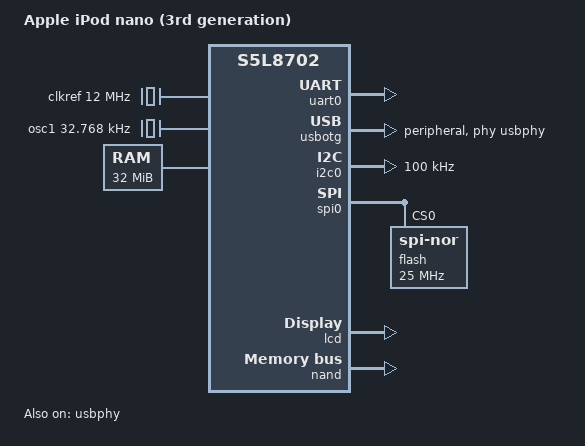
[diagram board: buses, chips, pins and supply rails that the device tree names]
// SPDX-License-Identifier: GPL-2.0+
/*
 * Apple iPod nano 3rd generation (N46)
 * SoC: Samsung/Apple S5L8702 (ARM926EJ-S)
 */
/dts-v1/;
#include <dt-bindings/clock/samsung,s5l8702-clock.h>

/ {
	#address-cells = <1>;
	#size-cells = <1>;
	model = "Apple iPod nano (3rd generation)";
	compatible = "apple,n46", "samsung,s5l8702";

	aliases {
		serial0 = &uart0;
	};

	chosen {
		stdout-path = "serial0:57600n8";
	};

	/* Crystal reference: 12 MHz */
	clkref: clock-ref {
		compatible = "fixed-clock";
		#clock-cells = <0>;
		clock-frequency = <12000000>;
		clock-output-names = "clkref";
	};

	/* 32.768 kHz crystal */
	osc1: clock-osc1 {
		compatible = "fixed-clock";
		#clock-cells = <0>;
		clock-frequency = <32768>;
		clock-output-names = "osc1";
	};

	cpus {
		#address-cells = <1>;
		#size-cells = <0>;

		cpu@0 {
			device_type = "cpu";
			compatible = "arm,arm926ej-s";
			reg = <0>;
		};
	};

	memory@8000000 {
		device_type = "memory";
		/* 32 MB SDRAM */
		reg = <0x08000000 0x02000000>;
	};

	soc {
		compatible = "simple-bus";
		#address-cells = <1>;
		#size-cells = <1>;
		ranges;

		vic0: interrupt-controller@38e00000 {
			compatible = "arm,pl192-vic";
			interrupt-controller;
			reg = <0x38e00000 0x1000>;
			#interrupt-cells = <1>;
		};

		vic1: interrupt-controller@38e01000 {
			compatible = "arm,pl192-vic";
			interrupt-controller;
			reg = <0x38e01000 0x1000>;
			#interrupt-cells = <1>;
		};

		timer: timer@3c700000 {
			compatible = "samsung,s5l8702-timer";
			reg = <0x3c700000 0x20000>;
			interrupt-parent = <&vic0>;
			interrupts = <7>;
		};

		uart0: serial@3cc00000 {
			compatible = "apple,s5l-uart";
			reg = <0x3cc00000 0x4000>;
			reg-io-width = <4>;
			clocks = <&clkref>, <&clkref>;
			clock-names = "uart", "clk_uart_baud0";
			interrupt-parent = <&vic0>;
			interrupts = <24>;
			status = "okay";
		};

		usbphy: usbphy@3c400000 {
			compatible = "apple,s5l8702-otgphy";
			reg = <0x3c400000 0x200>;
			status = "okay";
			#phy-cells = <0>;
		};

		usbotg: usb@38400000 {
			compatible = "apple,s5l87xx-usb";
			reg = <0x38400000 0x40000>;
			interrupt-parent = <&vic0>;
			interrupts = <19>;
			phys = <&usbphy>;
			phy-names = "usb2-phy";
			clocks = <&clkctrl CLK_USBOTG>;
			clock-names = "otg";
			g-rx-fifo-size = <536>;
			g-np-tx-fifo-size = <256>;
			g-tx-fifo-size = <256 256 512 512 512 768 768>;
			dr_mode = "peripheral";
			status = "okay";
		};

		i2c0: i2c@3c600000 {
			compatible = "samsung,s5l8702-i2c";
			reg = <0x3c600000 0x100>;
			clock-frequency = <100000>;
			clocks = <&clkctrl CLK_I2C0>;
			interrupt-parent = <&vic0>;
			interrupts = <21>;
			samsung,write-busy-poll;
			status = "okay";
		};

		/*
		 * SPI0: boot NOR flash (SST25-series, 4 MB).
		 * CS is controlled manually via GPIOCMD; no cs-gpios needed.
		 * Clock divider is fixed at 4 (PClk/5) by the driver.
		 */
		spi0: spi@3c300000 {
			compatible = "apple,s5l8702-spi";
			reg = <0x3c300000 0x50>;
			clocks = <&clkctrl CLK_SPI0>;
			#address-cells = <1>;
			#size-cells = <0>;
			status = "okay";

			flash@0 {
				compatible = "jedec,spi-nor";
				reg = <0>;
				spi-max-frequency = <25000000>;
			};
		};

		/*
		 * LCD controller: custom 8080-series MPU interface block
		 * driving an ILI93xx-family panel (auto-detected at probe).
		 */
		lcd: lcd@38300000 {
			compatible = "apple,s5l8702-lcd";
			reg = <0x38300000 0x100>;
			clocks = <&clkctrl CLK_LCD>;
			pmu-i2c = <&i2c0>;
			status = "okay";
		};

		/*
		 * FMI (Flash Memory Interface) for the on-board NAND.
		 * The driver still sets the GPIO pinmux (PCON8..10) itself.
		 */
		nand: nand@38a00000 {
			compatible = "apple,s5l8702-nand";
			reg = <0x38a00000 0x400>;
			clocks = <&clkctrl CLK_NAND>, <&clkctrl CLK_NANDECC>;
			clock-names = "nand", "ecc";
			pmu-i2c = <&i2c0>;
			apple,nand-bank = <0>;
			status = "okay";
		};

		clkctrl: clock-controller@3c500000 {
			compatible = "samsung,s5l8702-clock";
			reg = <0x3c500000 0x100>;
			clocks = <&clkref>, <&osc1>;
			clock-names = "osc0", "osc1";
			#clock-cells = <1>;
		};

		/*
		 * GPIO pins 0..127 (port * 8 + pin). Pin interrupts come from
		 * the external interrupt controller in the "system alive"
		 * block, whose GPIO groups feed VIC0 lines 0..3.
		 */
		gpio: gpio-controller@3cf00000 {
			compatible = "apple,s5l8702-gpio";
			reg = <0x3cf00000 0x204>, <0x39a00080 0x80>;
			clocks = <&clkctrl CLK_GPIO>;
			interrupt-parent = <&vic0>;
			interrupts = <0>, <1>, <2>, <3>;
			gpio-controller;
			#gpio-cells = <2>;
			interrupt-controller;
			#interrupt-cells = <2>;
		};

		/*
		 * ARM PL080 DMA controllers. Request lines (first cell):
		 *  dmac0: 0/1 I2S2 tx/rx, 2 SPDIF tx, 3 LCD, 4/5 SPI0,
		 *         6/7 UART0, 8/9 UART1, 10/11 I2S0, 12/13 SPI2,
		 *         14/15 SPI1
		 *  dmac1: 0/1 CE-ATA, 2/3 I2S1, 4/5 I2S2, 6/7 SPI1,
		 *         8/9 UART2, 10/11 SPI0, 12/13 UART3, 14/15 SPI2
		 * Rockbox uses AHB master 1 for everything (second cell = 1).
		 * The PrimeCell ID is forced in case the silicon doesn't
		 * report a standard one.
		 */
		dmac0: dma-controller@38200000 {
			compatible = "arm,pl080", "arm,primecell";
			arm,primecell-periphid = <0x00041080>;
			reg = <0x38200000 0x1000>;
			interrupt-parent = <&vic0>;
			interrupts = <16>;
			clocks = <&clkctrl CLK_DMAC0>;
			clock-names = "apb_pclk";
			lli-bus-interface-ahb1;
			mem-bus-interface-ahb1;
			memcpy-burst-size = <16>;
			memcpy-bus-width = <32>;
			#dma-cells = <2>;
		};

		dmac1: dma-controller@39900000 {
			compatible = "arm,pl080", "arm,primecell";
			arm,primecell-periphid = <0x00041080>;
			reg = <0x39900000 0x1000>;
			interrupt-parent = <&vic0>;
			interrupts = <17>;
			clocks = <&clkctrl CLK_DMAC1>;
			clock-names = "apb_pclk";
			lli-bus-interface-ahb1;
			mem-bus-interface-ahb1;
			memcpy-burst-size = <16>;
			memcpy-bus-width = <32>;
			#dma-cells = <2>;
		};

		/*
		 * Watchdog. Only its reset behaviour is known: writing
		 * 0x100000 to WDTCON resets the SoC (Rockbox system_reboot).
		 */
		wdt: watchdog@3c800000 {
			compatible = "apple,s5l8702-wdt", "syscon", "simple-mfd";
			reg = <0x3c800000 0x8>;

			reboot {
				compatible = "syscon-reboot";
				offset = <0x0>;
				value = <0x100000>;
			};
		};

		sha1: sha1@38000000 {
			compatible = "samsung,s5l8702-sha1";
			reg = <0x38000000 0x100>;
			clocks = <&clkctrl CLK_SHA1>;
			clock-names = "sha1";
		};
	};
};
